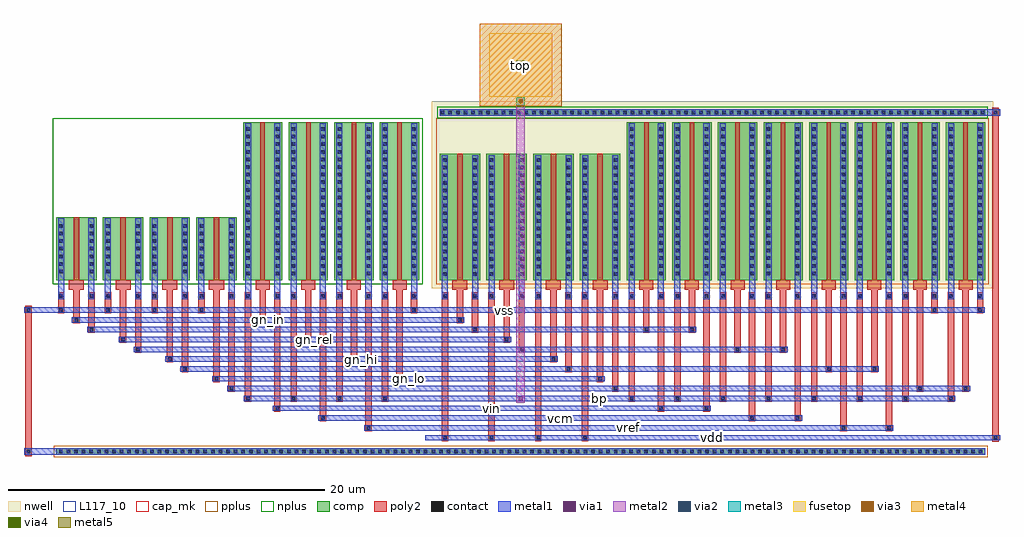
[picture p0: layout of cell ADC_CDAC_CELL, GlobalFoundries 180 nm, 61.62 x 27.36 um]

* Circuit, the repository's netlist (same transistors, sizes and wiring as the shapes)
* extracted by klt extract --deck gf180mcu

* cell ADC_CDAC_CELL
* pin bp
* pin gn_hi
* pin gn_in
* pin gn_lo
* pin gn_rel
* pin top
* pin vcm
* pin vdd
* pin vin
* pin vref
* pin vss
.SUBCKT ADC_CDAC_CELL bp gn_hi gn_in gn_lo gn_rel top vcm vdd vin vref vss
* device instance $1 r0 *1 1.275,2 nfet
M$1 \$2 gn_in vss vss nfet L=0.35U W=4U AS=4.4P AD=4.4P PS=10.2U PD=10.2U
* device instance $2 r0 *1 4.225,2 nfet
M$2 \$4 gn_rel vss vss nfet L=0.35U W=4U AS=4.4P AD=4.4P PS=10.2U PD=10.2U
* device instance $3 r0 *1 7.175,2 nfet
M$3 \$6 gn_hi vss vss nfet L=0.35U W=4U AS=4.4P AD=4.4P PS=10.2U PD=10.2U
* device instance $4 r0 *1 10.125,2 nfet
M$4 \$8 gn_lo vss vss nfet L=0.35U W=4U AS=4.4P AD=4.4P PS=10.2U PD=10.2U
* device instance $5 r0 *1 13.04,5 nfet
M$5 vin gn_in bp vss nfet L=0.28U W=10U AS=11P AD=11P PS=22.2U PD=22.2U
* device instance $6 r0 *1 15.92,5 nfet
M$6 vcm gn_rel bp vss nfet L=0.28U W=10U AS=11P AD=11P PS=22.2U PD=22.2U
* device instance $7 r0 *1 18.8,5 nfet
M$7 vref gn_hi bp vss nfet L=0.28U W=10U AS=11P AD=11P PS=22.2U PD=22.2U
* device instance $8 r0 *1 21.68,5 nfet
M$8 vss gn_lo bp vss nfet L=0.28U W=10U AS=11P AD=11P PS=22.2U PD=22.2U
* device instance $9 r0 *1 25.495,4 pfet
M$9 \$2 gn_in vdd vdd pfet L=0.35U W=8U AS=8.8P AD=8.8P PS=18.2U PD=18.2U
* device instance $10 r0 *1 28.445,4 pfet
M$10 \$4 gn_rel vdd vdd pfet L=0.35U W=8U AS=8.8P AD=8.8P PS=18.2U PD=18.2U
* device instance $11 r0 *1 31.395,4 pfet
M$11 \$6 gn_hi vdd vdd pfet L=0.35U W=8U AS=8.8P AD=8.8P PS=18.2U PD=18.2U
* device instance $12 r0 *1 34.345,4 pfet
M$12 \$8 gn_lo vdd vdd pfet L=0.35U W=8U AS=8.8P AD=8.8P PS=18.2U PD=18.2U
* device instance $13 r0 *1 37.26,10 pfet
M$13 vin \$2 bp vdd pfet L=0.28U W=20U AS=22P AD=22P PS=42.2U PD=42.2U
* device instance $14 r0 *1 40.14,10 pfet
M$14 vcm \$4 bp vdd pfet L=0.28U W=20U AS=22P AD=22P PS=42.2U PD=42.2U
* device instance $15 r0 *1 43.02,10 pfet
M$15 vref \$6 bp vdd pfet L=0.28U W=20U AS=22P AD=22P PS=42.2U PD=42.2U
* device instance $16 r0 *1 45.9,10 pfet
M$16 vss \$8 bp vdd pfet L=0.28U W=20U AS=22P AD=22P PS=42.2U PD=42.2U
* device instance $17 r0 *1 23.57,23.6 cap_mim_2f0_m4m5_noshield
C$17 bp top 3.56528e-14
.ENDS ADC_CDAC_CELL

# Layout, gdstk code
import gdstk
lib = gdstk.Library(unit=1e-6, precision=1e-09)
def R(c, l, rs):  # rectangles x0, y0, x1, y1
    for r in rs: c.add(gdstk.rectangle(r[:2], r[2:], *l))
def A(c, l, x, y, w, h, nx, ny, dx, dy):  # array of equal rectangles
    R(c, l, [(x+i*dx, y+j*dy, x+i*dx+w, y+j*dy+h) for i in range(nx) for j in range(ny)])
nwell = (21, 0)
comp = (22, 0)
poly2 = (30, 0)
pplus = (31, 0)
nplus = (32, 0)
contact = (33, 0)
metal1 = (34, 0)
via1 = (35, 0)
metal2 = (36, 0)
via2 = (38, 0)
via3 = (40, 0)
via4 = (41, 0)
metal3 = (42, 0)
metal4 = (46, 0)
fusetop = (75, 0)
metal5 = (81, 0)
cap_mk = (117, 5)
L117_10 = (117, 10)

adc_cdac_cell = lib.new_cell('ADC_CDAC_CELL')
R(adc_cdac_cell, nwell, [(23.72,-0.5,59.16,11.3)])
A(adc_cdac_cell, comp, 0, 0, 2.55, 4, 4, 1, 2.95, 0)
A(adc_cdac_cell, comp, 11.8, 0, 2.48, 10, 4, 1, 2.88, 0)
A(adc_cdac_cell, comp, 24.22, 0, 2.55, 8, 4, 1, 2.95, 0)
A(adc_cdac_cell, comp, 36.02, 0, 2.48, 10, 8, 1, 2.88, 0)
R(adc_cdac_cell, comp, [(0,-11,58.66,-10.6), (24.22,10.4,58.66,10.8)])
A(adc_cdac_cell, poly2, 24.34, -10.14, 0.4, 8.94, 4, 1, 2.95, 0)
A(adc_cdac_cell, poly2, 11.92, -7.66, 0.4, 6.46, 4, 1, 2.88, 0)
A(adc_cdac_cell, poly2, 36.14, -7.66, 0.4, 6.46, 8, 1, 2.88, 0)
A(adc_cdac_cell, poly2, 0.12, -2.08, 0.4, 0.88, 4, 1, 2.95, 0)
A(adc_cdac_cell, poly2, 1.075, -1.2, 0.4, 0.6, 4, 1, 2.95, 0)
A(adc_cdac_cell, poly2, 12.84, -1.2, 0.4, 0.6, 4, 1, 2.88, 0)
A(adc_cdac_cell, poly2, 25.295, -1.2, 0.4, 0.6, 4, 1, 2.95, 0)
A(adc_cdac_cell, poly2, 37.06, -1.2, 0.4, 0.6, 8, 1, 2.88, 0)
A(adc_cdac_cell, poly2, 0.8, -0.6, 0.95, 0.6, 4, 1, 2.95, 0)
A(adc_cdac_cell, poly2, 12.6, -0.6, 0.88, 0.6, 4, 1, 2.88, 0)
A(adc_cdac_cell, poly2, 25.02, -0.6, 0.95, 0.6, 4, 1, 2.95, 0)
A(adc_cdac_cell, poly2, 36.82, -0.6, 0.88, 0.6, 8, 1, 2.88, 0)
A(adc_cdac_cell, poly2, 1.1, 0, 0.35, 4, 4, 1, 2.95, 0)
A(adc_cdac_cell, poly2, 12.9, 0, 0.28, 10, 4, 1, 2.88, 0)
A(adc_cdac_cell, poly2, 25.32, 0, 0.35, 8, 4, 1, 2.95, 0)
A(adc_cdac_cell, poly2, 37.12, 0, 0.28, 10, 8, 1, 2.88, 0)
R(adc_cdac_cell, poly2, [(-1.95,-11.1,-1.55,-1.6), (59.11,-10.2,59.51,10.9), (19.52,-9.52,19.92,-1.2), (49.5,-9.52,49.9,-1.2), (52.38,-9.52,52.78,-1.2), (16.64,-8.9,17.04,-1.2), (43.74,-8.9,44.14,-1.2), (46.62,-8.9,47.02,-1.2), (13.76,-8.28,14.16,-1.2), (37.98,-8.28,38.38,-1.2), (40.86,-8.28,41.26,-1.2), (10.88,-7.04,11.28,-1.2), (35.1,-7.04,35.5,-1.2), (54.34,-7.04,54.74,-1.2), (57.22,-7.04,57.62,-1.2), (9.925,-6.42,10.325,-1.2), (21.48,-6.42,21.88,-1.2), (34.145,-6.42,34.545,-1.2), (7.93,-5.8,8.33,-1.2), (32.15,-5.8,32.55,-1.2), (48.58,-5.8,48.98,-1.2), (51.46,-5.8,51.86,-1.2), (6.975,-5.18,7.375,-1.2), (18.6,-5.18,19,-1.2), (31.195,-5.18,31.595,-1.2), (4.98,-4.56,5.38,-1.2), (29.2,-4.56,29.6,-1.2), (42.82,-4.56,43.22,-1.2), (45.7,-4.56,46.1,-1.2), (4.025,-3.94,4.425,-1.2), (15.72,-3.94,16.12,-1.2), (28.245,-3.94,28.645,-1.2), (2.03,-3.32,2.43,-1.2), (26.25,-3.32,26.65,-1.2), (37.06,-3.32,37.46,-1.2), (39.94,-3.32,40.34,-1.2), (1.075,-2.7,1.475,-1.2), (12.84,-2.7,13.24,-1.2), (25.295,-2.7,25.695,-1.2), (22.4,-2.08,22.8,-1.2), (55.26,-2.08,55.66,-1.2), (58.14,-2.08,58.54,-1.2), (0.12,-1.2,0.52,-0.75), (2.03,-1.2,2.43,-0.75), (3.07,-1.2,3.47,-0.75), (4.98,-1.2,5.38,-0.75), (6.02,-1.2,6.42,-0.75), (7.93,-1.2,8.33,-0.75), (8.97,-1.2,9.37,-0.75), (10.88,-1.2,11.28,-0.75), (11.92,-1.2,12.32,-0.75), (13.76,-1.2,14.16,-0.75), (14.8,-1.2,15.2,-0.75), (16.64,-1.2,17.04,-0.75), (17.68,-1.2,18.08,-0.75), (19.52,-1.2,19.92,-0.75), (20.56,-1.2,20.96,-0.75), (22.4,-1.2,22.8,-0.75), (24.34,-1.2,24.74,-0.75), (26.25,-1.2,26.65,-0.75), (27.29,-1.2,27.69,-0.75), (29.2,-1.2,29.6,-0.75), (30.24,-1.2,30.64,-0.75), (32.15,-1.2,32.55,-0.75), (33.19,-1.2,33.59,-0.75), (35.1,-1.2,35.5,-0.75), (36.14,-1.2,36.54,-0.75), (37.98,-1.2,38.38,-0.75), (39.02,-1.2,39.42,-0.75), (40.86,-1.2,41.26,-0.75), (41.9,-1.2,42.3,-0.75), (43.74,-1.2,44.14,-0.75), (44.78,-1.2,45.18,-0.75), (46.62,-1.2,47.02,-0.75), (47.66,-1.2,48.06,-0.75), (49.5,-1.2,49.9,-0.75), (50.54,-1.2,50.94,-0.75), (52.38,-1.2,52.78,-0.75), (53.42,-1.2,53.82,-0.75), (55.26,-1.2,55.66,-0.75), (56.3,-1.2,56.7,-0.75), (58.14,-1.2,58.54,-0.75)])
R(adc_cdac_cell, pplus, [(-0.16,-11.16,58.82,-10.44), (23.99,-0.23,58.89,10.23)])
R(adc_cdac_cell, nplus, [(-0.23,-0.23,23.15,10.23), (24.06,10.24,58.82,10.96)])
A(adc_cdac_cell, contact, 0.18, -10.91, 0.22, 0.22, 122, 1, 0.48, 0)
A(adc_cdac_cell, contact, 24.43, -10.04, 0.22, 0.22, 4, 1, 2.95, 0)
A(adc_cdac_cell, contact, 12.01, -7.56, 0.22, 0.22, 4, 1, 2.88, 0)
A(adc_cdac_cell, contact, 36.23, -7.56, 0.22, 0.22, 8, 1, 2.88, 0)
A(adc_cdac_cell, contact, 0.21, -1.98, 0.22, 0.22, 4, 1, 2.95, 0)
A(adc_cdac_cell, contact, 24.43, 0.29, 0.22, 0.22, 1, 16, 0, 0.48)
A(adc_cdac_cell, contact, 26.34, 0.29, 0.22, 0.22, 1, 16, 0, 0.48)
A(adc_cdac_cell, contact, 27.38, 0.29, 0.22, 0.22, 1, 16, 0, 0.48)
A(adc_cdac_cell, contact, 29.29, 0.29, 0.22, 0.22, 1, 16, 0, 0.48)
A(adc_cdac_cell, contact, 30.33, 0.29, 0.22, 0.22, 1, 16, 0, 0.48)
A(adc_cdac_cell, contact, 32.24, 0.29, 0.22, 0.22, 1, 16, 0, 0.48)
A(adc_cdac_cell, contact, 33.28, 0.29, 0.22, 0.22, 1, 16, 0, 0.48)
A(adc_cdac_cell, contact, 35.19, 0.29, 0.22, 0.22, 1, 16, 0, 0.48)
A(adc_cdac_cell, contact, 12.01, 0.33, 0.22, 0.22, 1, 20, 0, 0.48)
A(adc_cdac_cell, contact, 13.85, 0.33, 0.22, 0.22, 1, 20, 0, 0.48)
A(adc_cdac_cell, contact, 14.89, 0.33, 0.22, 0.22, 1, 20, 0, 0.48)
A(adc_cdac_cell, contact, 16.73, 0.33, 0.22, 0.22, 1, 20, 0, 0.48)
A(adc_cdac_cell, contact, 17.77, 0.33, 0.22, 0.22, 1, 20, 0, 0.48)
A(adc_cdac_cell, contact, 19.61, 0.33, 0.22, 0.22, 1, 20, 0, 0.48)
A(adc_cdac_cell, contact, 20.65, 0.33, 0.22, 0.22, 1, 20, 0, 0.48)
A(adc_cdac_cell, contact, 22.49, 0.33, 0.22, 0.22, 1, 20, 0, 0.48)
A(adc_cdac_cell, contact, 36.23, 0.33, 0.22, 0.22, 1, 20, 0, 0.48)
A(adc_cdac_cell, contact, 38.07, 0.33, 0.22, 0.22, 1, 20, 0, 0.48)
A(adc_cdac_cell, contact, 39.11, 0.33, 0.22, 0.22, 1, 20, 0, 0.48)
A(adc_cdac_cell, contact, 40.95, 0.33, 0.22, 0.22, 1, 20, 0, 0.48)
A(adc_cdac_cell, contact, 41.99, 0.33, 0.22, 0.22, 1, 20, 0, 0.48)
A(adc_cdac_cell, contact, 43.83, 0.33, 0.22, 0.22, 1, 20, 0, 0.48)
A(adc_cdac_cell, contact, 44.87, 0.33, 0.22, 0.22, 1, 20, 0, 0.48)
A(adc_cdac_cell, contact, 46.71, 0.33, 0.22, 0.22, 1, 20, 0, 0.48)
A(adc_cdac_cell, contact, 47.75, 0.33, 0.22, 0.22, 1, 20, 0, 0.48)
A(adc_cdac_cell, contact, 49.59, 0.33, 0.22, 0.22, 1, 20, 0, 0.48)
A(adc_cdac_cell, contact, 50.63, 0.33, 0.22, 0.22, 1, 20, 0, 0.48)
A(adc_cdac_cell, contact, 52.47, 0.33, 0.22, 0.22, 1, 20, 0, 0.48)
A(adc_cdac_cell, contact, 53.51, 0.33, 0.22, 0.22, 1, 20, 0, 0.48)
A(adc_cdac_cell, contact, 55.35, 0.33, 0.22, 0.22, 1, 20, 0, 0.48)
A(adc_cdac_cell, contact, 56.39, 0.33, 0.22, 0.22, 1, 20, 0, 0.48)
A(adc_cdac_cell, contact, 58.23, 0.33, 0.22, 0.22, 1, 20, 0, 0.48)
A(adc_cdac_cell, contact, 0.21, 0.45, 0.22, 0.22, 1, 7, 0, 0.48)
A(adc_cdac_cell, contact, 2.12, 0.45, 0.22, 0.22, 1, 7, 0, 0.48)
A(adc_cdac_cell, contact, 3.16, 0.45, 0.22, 0.22, 1, 7, 0, 0.48)
A(adc_cdac_cell, contact, 5.07, 0.45, 0.22, 0.22, 1, 7, 0, 0.48)
A(adc_cdac_cell, contact, 6.11, 0.45, 0.22, 0.22, 1, 7, 0, 0.48)
A(adc_cdac_cell, contact, 8.02, 0.45, 0.22, 0.22, 1, 7, 0, 0.48)
A(adc_cdac_cell, contact, 9.06, 0.45, 0.22, 0.22, 1, 7, 0, 0.48)
A(adc_cdac_cell, contact, 10.97, 0.45, 0.22, 0.22, 1, 7, 0, 0.48)
A(adc_cdac_cell, contact, 24.29, 10.49, 0.22, 0.22, 72, 1, 0.48, 0)
R(adc_cdac_cell, contact, [(-1.86,-10.91,-1.64,-10.69), (59.2,-10.04,59.42,-9.82), (19.61,-9.42,19.83,-9.2), (49.59,-9.42,49.81,-9.2), (52.47,-9.42,52.69,-9.2), (16.73,-8.8,16.95,-8.58), (43.83,-8.8,44.05,-8.58), (46.71,-8.8,46.93,-8.58), (13.85,-8.18,14.07,-7.96), (38.07,-8.18,38.29,-7.96), (40.95,-8.18,41.17,-7.96), (10.97,-6.94,11.19,-6.72), (35.19,-6.94,35.41,-6.72), (54.43,-6.94,54.65,-6.72), (57.31,-6.94,57.53,-6.72), (10.015,-6.32,10.235,-6.1), (21.57,-6.32,21.79,-6.1), (34.235,-6.32,34.455,-6.1), (8.02,-5.7,8.24,-5.48), (32.24,-5.7,32.46,-5.48), (48.67,-5.7,48.89,-5.48), (51.55,-5.7,51.77,-5.48), (7.065,-5.08,7.285,-4.86), (18.69,-5.08,18.91,-4.86), (31.285,-5.08,31.505,-4.86), (5.07,-4.46,5.29,-4.24), (29.29,-4.46,29.51,-4.24), (42.91,-4.46,43.13,-4.24), (45.79,-4.46,46.01,-4.24), (4.115,-3.84,4.335,-3.62), (15.81,-3.84,16.03,-3.62), (28.335,-3.84,28.555,-3.62), (2.12,-3.22,2.34,-3), (26.34,-3.22,26.56,-3), (37.15,-3.22,37.37,-3), (40.03,-3.22,40.25,-3), (1.165,-2.6,1.385,-2.38), (12.93,-2.6,13.15,-2.38), (25.385,-2.6,25.605,-2.38), (-1.86,-1.98,-1.64,-1.76), (22.49,-1.98,22.71,-1.76), (55.35,-1.98,55.57,-1.76), (58.23,-1.98,58.45,-1.76), (0.21,-1.08,0.43,-0.86), (2.12,-1.08,2.34,-0.86), (3.16,-1.08,3.38,-0.86), (5.07,-1.08,5.29,-0.86), (6.11,-1.08,6.33,-0.86), (8.02,-1.08,8.24,-0.86), (9.06,-1.08,9.28,-0.86), (10.97,-1.08,11.19,-0.86), (12.01,-1.08,12.23,-0.86), (13.85,-1.08,14.07,-0.86), (14.89,-1.08,15.11,-0.86), (16.73,-1.08,16.95,-0.86), (17.77,-1.08,17.99,-0.86), (19.61,-1.08,19.83,-0.86), (20.65,-1.08,20.87,-0.86), (22.49,-1.08,22.71,-0.86), (24.43,-1.08,24.65,-0.86), (26.34,-1.08,26.56,-0.86), (27.38,-1.08,27.6,-0.86), (29.29,-1.08,29.51,-0.86), (30.33,-1.08,30.55,-0.86), (32.24,-1.08,32.46,-0.86), (33.28,-1.08,33.5,-0.86), (35.19,-1.08,35.41,-0.86), (36.23,-1.08,36.45,-0.86), (38.07,-1.08,38.29,-0.86), (39.11,-1.08,39.33,-0.86), (40.95,-1.08,41.17,-0.86), (41.99,-1.08,42.21,-0.86), (43.83,-1.08,44.05,-0.86), (44.87,-1.08,45.09,-0.86), (46.71,-1.08,46.93,-0.86), (47.75,-1.08,47.97,-0.86), (49.59,-1.08,49.81,-0.86), (50.63,-1.08,50.85,-0.86), (52.47,-1.08,52.69,-0.86), (53.51,-1.08,53.73,-0.86), (55.35,-1.08,55.57,-0.86), (56.39,-1.08,56.61,-0.86), (58.23,-1.08,58.45,-0.86), (59.2,10.49,59.42,10.71)])
R(adc_cdac_cell, metal1, [(-2.03,-11,58.66,-10.6), (23.29,-10.1,59.59,-9.76), (19.44,-9.48,52.86,-9.14), (16.56,-8.86,47.1,-8.52), (13.68,-8.24,41.34,-7.9), (11.84,-7.62,56.78,-7.28), (10.8,-7,57.7,-6.66), (9.845,-6.38,34.625,-6.04), (7.85,-5.76,51.94,-5.42), (6.895,-5.14,31.675,-4.8), (4.9,-4.52,46.18,-4.18), (3.945,-3.9,28.725,-3.56), (1.95,-3.28,40.42,-2.94), (0.995,-2.66,25.775,-2.32), (-2.03,-2.04,58.62,-1.7), (0.13,-1.2,0.51,0.09), (2.04,-1.2,2.42,0.09), (3.08,-1.2,3.46,0.09), (4.99,-1.2,5.37,0.09), (6.03,-1.2,6.41,0.09), (7.94,-1.2,8.32,0.09), (8.98,-1.2,9.36,0.09), (10.89,-1.2,11.27,0.09), (11.93,-1.2,12.31,0.09), (13.77,-1.2,14.15,0.09), (14.81,-1.2,15.19,0.09), (16.65,-1.2,17.03,0.09), (17.69,-1.2,18.07,0.09), (19.53,-1.2,19.91,0.09), (20.57,-1.2,20.95,0.09), (22.41,-1.2,22.79,0.09), (24.35,-1.2,24.73,0.09), (26.26,-1.2,26.64,0.09), (27.3,-1.2,27.68,0.09), (29.21,-1.2,29.59,0.09), (30.25,-1.2,30.63,0.09), (32.16,-1.2,32.54,0.09), (33.2,-1.2,33.58,0.09), (35.11,-1.2,35.49,0.09), (36.15,-1.2,36.53,0.09), (37.99,-1.2,38.37,0.09), (39.03,-1.2,39.41,0.09), (40.87,-1.2,41.25,0.09), (41.91,-1.2,42.29,0.09), (43.75,-1.2,44.13,0.09), (44.79,-1.2,45.17,0.09), (46.63,-1.2,47.01,0.09), (47.67,-1.2,48.05,0.09), (49.51,-1.2,49.89,0.09), (50.55,-1.2,50.93,0.09), (52.39,-1.2,52.77,0.09), (53.43,-1.2,53.81,0.09), (55.27,-1.2,55.65,0.09), (56.31,-1.2,56.69,0.09), (58.15,-1.2,58.53,0.09), (0.13,0.09,0.51,3.91), (2.04,0.09,2.42,3.91), (3.08,0.09,3.46,3.91), (4.99,0.09,5.37,3.91), (6.03,0.09,6.41,3.91), (7.94,0.09,8.32,3.91), (8.98,0.09,9.36,3.91), (10.89,0.09,11.27,3.91), (11.93,0.09,12.31,9.91), (13.77,0.09,14.15,9.91), (14.81,0.09,15.19,9.91), (16.65,0.09,17.03,9.91), (17.69,0.09,18.07,9.91), (19.53,0.09,19.91,9.91), (20.57,0.09,20.95,9.91), (22.41,0.09,22.79,9.91), (24.35,0.09,24.73,7.91), (26.26,0.09,26.64,7.91), (27.3,0.09,27.68,7.91), (29.21,0.09,29.59,7.91), (30.25,0.09,30.63,7.91), (32.16,0.09,32.54,7.91), (33.2,0.09,33.58,7.91), (35.11,0.09,35.49,7.91), (36.15,0.09,36.53,9.91), (37.99,0.09,38.37,9.91), (39.03,0.09,39.41,9.91), (40.87,0.09,41.25,9.91), (41.91,0.09,42.29,9.91), (43.75,0.09,44.13,9.91), (44.79,0.09,45.17,9.91), (46.63,0.09,47.01,9.91), (47.67,0.09,48.05,9.91), (49.51,0.09,49.89,9.91), (50.55,0.09,50.93,9.91), (52.39,0.09,52.77,9.91), (53.43,0.09,53.81,9.91), (55.27,0.09,55.65,9.91), (56.31,0.09,56.69,9.91), (58.15,0.09,58.53,9.91), (24.22,10.4,58.66,10.8), (24.22,10.4,59.59,10.8)])
R(adc_cdac_cell, via1, [(29.2,-7.58,29.46,-7.32)])
R(adc_cdac_cell, metal2, [(29.06,-7.72,29.6,11.57)])
R(adc_cdac_cell, via2, [(29.2,11.17,29.46,11.43)])
R(adc_cdac_cell, via3, [(29.2,11.17,29.46,11.43)])
R(adc_cdac_cell, via4, [(29.2,13.47,29.46,13.73)])
R(adc_cdac_cell, metal3, [(29.06,11.03,29.6,11.57)])
R(adc_cdac_cell, metal4, [(26.73,11,31.93,16.2)])
R(adc_cdac_cell, fusetop, [(27.33,11.6,31.33,15.6)])
R(adc_cdac_cell, metal5, [(29.06,13.33,29.6,13.87)])
R(adc_cdac_cell, cap_mk, [(27.33,11.6,31.33,15.6)])
R(adc_cdac_cell, L117_10, [(27.33,11.6,31.33,15.6)])
adc_cdac_cell.add(gdstk.Label('vss', (28.295,-1.87), layer=34, texttype=10))
adc_cdac_cell.add(gdstk.Label('gn_in', (13.385,-2.49), layer=34, texttype=10))
adc_cdac_cell.add(gdstk.Label('gn_rel', (16.335,-3.73), layer=34, texttype=10))
adc_cdac_cell.add(gdstk.Label('gn_hi', (19.285,-4.97), layer=34, texttype=10))
adc_cdac_cell.add(gdstk.Label('gn_lo', (22.235,-6.21), layer=34, texttype=10))
adc_cdac_cell.add(gdstk.Label('bp', (34.31,-7.45), layer=34, texttype=10))
adc_cdac_cell.add(gdstk.Label('vin', (27.51,-8.07), layer=34, texttype=10))
adc_cdac_cell.add(gdstk.Label('vcm', (31.83,-8.69), layer=34, texttype=10))
adc_cdac_cell.add(gdstk.Label('vref', (36.15,-9.31), layer=34, texttype=10))
adc_cdac_cell.add(gdstk.Label('vdd', (41.44,-9.93), layer=34, texttype=10))
adc_cdac_cell.add(gdstk.Label('top', (29.33,13.6), layer=81, texttype=10))

lib.write_gds('ADC_CDAC_CELL.gds')
